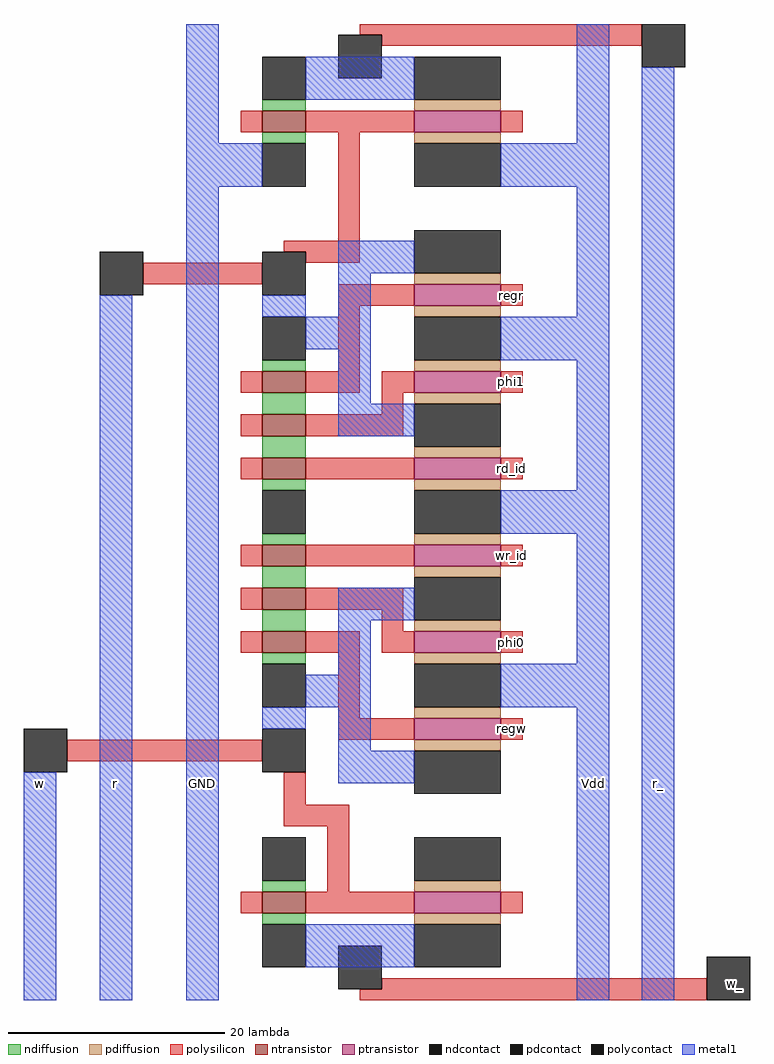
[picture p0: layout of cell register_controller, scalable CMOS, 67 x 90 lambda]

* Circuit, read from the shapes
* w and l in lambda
.subckt register_controller GND Vdd phi0 phi1 r r_ rd_id regr regw w w_ wr_id
M1 n1 w w_ VSUBS nfet w=4 l=2
M2 n2 regw w VSUBS nfet w=4 l=2
M3 n3 phi0 n2 VSUBS nfet w=4 l=2
M4 n4 wr_id n3 VSUBS nfet w=4 l=2
M5 n5 rd_id n4 VSUBS nfet w=4 l=2
M6 n6 phi1 n5 VSUBS nfet w=4 l=2
M7 r regr n6 VSUBS nfet w=4 l=2
M8 r_ r GND VSUBS nfet w=4 l=2
M9 n7 w w_ NWELL pfet w=8 l=2
M10 Vdd regw w NWELL pfet w=8 l=2
M11 w phi0 Vdd NWELL pfet w=8 l=2
M12 Vdd wr_id w NWELL pfet w=8 l=2
M13 r rd_id Vdd NWELL pfet w=8 l=2
M14 Vdd phi1 r NWELL pfet w=8 l=2
M15 r regr Vdd NWELL pfet w=8 l=2
M16 r_ r Vdd NWELL pfet w=8 l=2
.ends

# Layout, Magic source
magic
tech scmos
<< polysilicon >>
rect 9 46 35 47
rect 11 45 35 46
rect 7 27 9 39
rect 2 26 9 27
rect -11 23 0 25
rect 4 25 9 26
rect 7 21 14 23
rect 22 21 24 23
rect 7 15 9 21
rect -2 13 0 15
rect 4 13 9 15
rect 11 13 14 15
rect 22 13 24 15
rect 11 11 13 13
rect -2 9 0 11
rect 4 9 13 11
rect -2 5 0 7
rect 4 5 14 7
rect 22 5 24 7
rect -2 -3 0 -1
rect 4 -3 14 -1
rect 22 -3 24 -1
rect -2 -7 0 -5
rect 4 -7 13 -5
rect 11 -9 13 -7
rect -2 -11 0 -9
rect 4 -11 9 -9
rect 11 -11 14 -9
rect 22 -11 24 -9
rect 7 -17 9 -11
rect -18 -21 0 -19
rect 7 -19 14 -17
rect 22 -19 24 -17
rect 2 -25 4 -22
rect 2 -27 8 -25
rect 6 -35 8 -27
rect 11 -42 41 -41
rect 9 -43 41 -42
<< ndiffusion >>
rect 0 15 4 16
rect 0 11 4 13
rect 0 7 4 9
rect 0 4 4 5
rect 0 -1 4 0
rect 0 -5 4 -3
rect 0 -9 4 -7
rect 0 -12 4 -11
<< pdiffusion >>
rect 14 23 22 24
rect 14 20 22 21
rect 14 15 22 16
rect 14 12 22 13
rect 14 7 22 8
rect 14 4 22 5
rect 14 -1 22 0
rect 14 -4 22 -3
rect 14 -9 22 -8
rect 14 -12 22 -11
rect 14 -17 22 -16
rect 14 -20 22 -19
<< metal1 >>
rect -7 36 -4 47
rect 29 36 32 47
rect -7 32 0 36
rect 22 32 32 36
rect -22 -43 -19 -22
rect -15 -43 -12 22
rect -7 -43 -4 32
rect 0 20 4 22
rect 7 24 14 27
rect 7 20 10 24
rect 29 20 32 32
rect 4 17 10 20
rect 7 12 10 17
rect 22 16 32 20
rect 7 9 14 12
rect 29 4 32 16
rect 22 0 32 4
rect 7 -8 14 -5
rect 7 -13 10 -8
rect 29 -12 32 0
rect 4 -16 10 -13
rect 22 -16 32 -12
rect 0 -18 4 -16
rect 7 -20 10 -16
rect 7 -23 14 -20
rect 29 -43 32 -16
rect 35 -43 38 43
<< ntransistor >>
rect 0 13 4 15
rect 0 9 4 11
rect 0 5 4 7
rect 0 -3 4 -1
rect 0 -7 4 -5
rect 0 -11 4 -9
<< ptransistor >>
rect 14 21 22 23
rect 14 13 22 15
rect 14 5 22 7
rect 14 -3 22 -1
rect 14 -11 22 -9
rect 14 -19 22 -17
<< polycontact >>
rect 7 42 11 46
rect 35 43 39 47
rect -15 22 -11 26
rect 0 22 4 26
rect -22 -22 -18 -18
rect 0 -22 4 -18
rect 7 -42 11 -38
rect 41 -43 45 -39
<< ndcontact >>
rect 0 16 4 20
rect 0 0 4 4
rect 0 -16 4 -12
<< pdcontact >>
rect 14 24 22 28
rect 14 16 22 20
rect 14 8 22 12
rect 14 0 22 4
rect 14 -8 22 -4
rect 14 -16 22 -12
rect 14 -24 22 -20
use inverter  inverter_0
transform 0 1 -7 1 0 37
box -5 5 7 31
use inverter  inverter_1
transform 0 1 -7 -1 0 -33
box -5 5 7 31
<< labels >>
rlabel metal1 -22 -24 -19 -22 3 w
rlabel metal1 35 -24 38 -22 1 r_
rlabel metal1 -7 -24 -4 -22 1 GND
rlabel metal1 29 -24 32 -22 1 Vdd
rlabel metal1 -15 -24 -12 -22 1 r
rlabel polycontact 42 -43 45 -40 8 w_
rlabel polysilicon 23 -18 23 -18 1 regw
rlabel polysilicon 23 -10 23 -10 1 phi0
rlabel polysilicon 23 -2 23 -2 1 wr_id
rlabel polysilicon 23 6 23 6 1 rd_id
rlabel polysilicon 23 14 23 14 1 phi1
rlabel polysilicon 23 22 23 22 1 regr
<< end >>

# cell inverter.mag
magic
tech scmos
<< polysilicon >>
rect 0 29 2 31
rect 0 11 2 21
rect 0 5 2 7
<< ndiffusion >>
rect -1 7 0 11
rect 2 7 3 11
<< pdiffusion >>
rect -1 21 0 29
rect 2 21 3 29
<< metal1 >>
rect 3 11 7 21
<< ntransistor >>
rect 0 7 2 11
<< ptransistor >>
rect 0 21 2 29
<< ndcontact >>
rect -5 7 -1 11
rect 3 7 7 11
<< pdcontact >>
rect -5 21 -1 29
rect 3 21 7 29
<< labels >>
rlabel metal1 5 16 5 16 7 out
<< end >>
